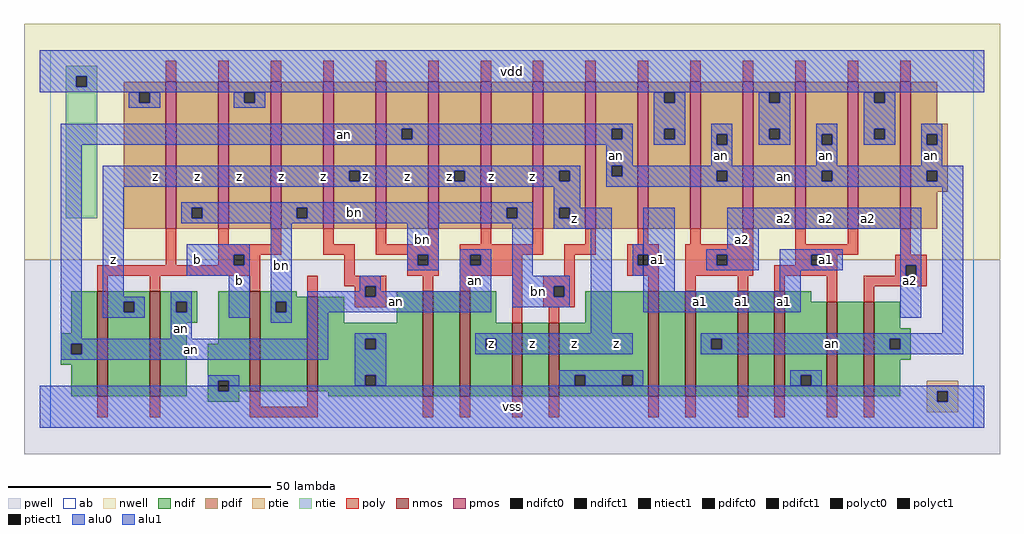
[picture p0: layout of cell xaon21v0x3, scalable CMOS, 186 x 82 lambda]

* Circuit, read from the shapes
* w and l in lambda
.subckt xaon21v0x3 a1 a2 an b bn vdd vss z
M1 z b an vss nfet w=20 l=2 m=2
M2 bn b vss vss nfet w=19 l=2
M3 vss b bn vss nfet w=18 l=2
M4 n1 bn vss vss nfet w=20 l=2
M5 z an n1 vss nfet w=20 l=2
M6 n2 an z vss nfet w=14 l=2
M7 vss bn n2 vss nfet w=14 l=2
M8 n3 a1 vss vss nfet w=20 l=2
M9 an a2 n3 vss nfet w=20 l=2
M10 n4 a2 an vss nfet w=20 l=2
M11 vss a1 n4 vss nfet w=20 l=2
M12 n5 a1 vss vss nfet w=18 l=2
M13 an a2 n5 vss nfet w=18 l=2
M14 bn b vdd vdd pfet w=28 l=2 m=3
M15 z an bn vdd pfet w=28 l=2 m=3
M16 an bn z vdd pfet w=28 l=2 m=3
M17 vdd a1 an vdd pfet w=28 l=2 m=3
M18 an a2 vdd vdd pfet w=28 l=2 m=3
.ends

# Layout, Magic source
magic
tech scmos
<< ab >>
rect 0 0 176 72
<< nwell >>
rect -5 32 181 77
<< pwell >>
rect -5 -5 181 32
<< poly >>
rect 22 66 24 70
rect 32 66 34 70
rect 42 66 44 70
rect 52 66 54 70
rect 62 66 64 70
rect 72 66 74 70
rect 82 66 84 70
rect 92 66 94 70
rect 102 66 104 70
rect 112 66 114 70
rect 122 66 124 70
rect 132 66 134 70
rect 142 66 144 70
rect 152 66 154 70
rect 162 66 164 70
rect 22 31 24 38
rect 32 35 34 38
rect 42 35 44 38
rect 32 33 44 35
rect 52 35 54 38
rect 62 35 64 38
rect 72 35 74 38
rect 82 35 84 38
rect 92 35 94 38
rect 102 35 104 38
rect 112 35 114 38
rect 122 35 124 38
rect 132 35 134 38
rect 52 33 58 35
rect 62 33 74 35
rect 32 31 35 33
rect 37 31 40 33
rect 9 29 40 31
rect 56 29 58 33
rect 68 31 70 33
rect 72 31 74 33
rect 68 29 74 31
rect 78 33 94 35
rect 98 33 104 35
rect 110 33 116 35
rect 78 31 80 33
rect 82 31 90 33
rect 78 29 90 31
rect 98 29 100 33
rect 110 31 112 33
rect 114 31 116 33
rect 110 29 116 31
rect 9 26 11 29
rect 19 26 21 29
rect 38 26 40 29
rect 49 25 51 29
rect 56 27 64 29
rect 58 25 60 27
rect 62 25 64 27
rect 71 26 73 29
rect 78 26 80 29
rect 58 23 64 25
rect 9 2 11 6
rect 19 2 21 6
rect 38 4 40 7
rect 49 4 51 7
rect 88 20 90 29
rect 94 27 100 29
rect 94 25 96 27
rect 98 25 100 27
rect 114 26 116 29
rect 121 33 134 35
rect 121 31 127 33
rect 129 31 134 33
rect 142 35 144 38
rect 152 35 154 38
rect 142 33 154 35
rect 162 33 164 38
rect 142 31 145 33
rect 147 31 150 33
rect 121 29 134 31
rect 138 29 150 31
rect 161 31 167 33
rect 161 29 163 31
rect 165 29 167 31
rect 121 26 123 29
rect 131 26 133 29
rect 138 26 140 29
rect 94 23 100 25
rect 95 20 97 23
rect 148 24 150 29
rect 155 27 167 29
rect 155 24 157 27
rect 38 2 51 4
rect 71 2 73 6
rect 78 2 80 6
rect 88 2 90 6
rect 95 2 97 6
rect 114 2 116 6
rect 121 2 123 6
rect 131 2 133 6
rect 138 2 140 6
rect 148 2 150 6
rect 155 2 157 6
<< ndif >>
rect 4 18 9 26
rect 2 16 9 18
rect 2 14 4 16
rect 6 14 9 16
rect 2 12 9 14
rect 4 6 9 12
rect 11 24 19 26
rect 11 22 14 24
rect 16 22 19 24
rect 11 6 19 22
rect 21 24 28 26
rect 21 22 24 24
rect 26 22 28 24
rect 21 20 28 22
rect 21 6 26 20
rect 32 16 38 26
rect 30 9 38 16
rect 30 7 32 9
rect 34 7 38 9
rect 40 25 47 26
rect 40 24 49 25
rect 40 22 43 24
rect 45 22 49 24
rect 40 7 49 22
rect 51 20 56 25
rect 66 20 71 26
rect 51 17 71 20
rect 51 15 60 17
rect 62 15 71 17
rect 51 10 71 15
rect 51 8 60 10
rect 62 8 71 10
rect 51 7 71 8
rect 30 5 36 7
rect 53 6 71 7
rect 73 6 78 26
rect 80 20 85 26
rect 102 20 114 26
rect 80 17 88 20
rect 80 15 83 17
rect 85 15 88 17
rect 80 6 88 15
rect 90 6 95 20
rect 97 10 114 20
rect 97 8 100 10
rect 102 8 109 10
rect 111 8 114 10
rect 97 6 114 8
rect 116 6 121 26
rect 123 17 131 26
rect 123 15 126 17
rect 128 15 131 17
rect 123 6 131 15
rect 133 6 138 26
rect 140 24 145 26
rect 140 10 148 24
rect 140 8 143 10
rect 145 8 148 10
rect 140 6 148 8
rect 150 6 155 24
rect 157 19 162 24
rect 157 17 164 19
rect 157 15 160 17
rect 162 15 164 17
rect 157 13 164 15
rect 157 6 162 13
<< pdif >>
rect 14 64 22 66
rect 14 62 17 64
rect 19 62 22 64
rect 14 38 22 62
rect 24 42 32 66
rect 24 40 27 42
rect 29 40 32 42
rect 24 38 32 40
rect 34 64 42 66
rect 34 62 37 64
rect 39 62 42 64
rect 34 38 42 62
rect 44 42 52 66
rect 44 40 47 42
rect 49 40 52 42
rect 44 38 52 40
rect 54 49 62 66
rect 54 47 57 49
rect 59 47 62 49
rect 54 38 62 47
rect 64 57 72 66
rect 64 55 67 57
rect 69 55 72 57
rect 64 38 72 55
rect 74 49 82 66
rect 74 47 77 49
rect 79 47 82 49
rect 74 38 82 47
rect 84 42 92 66
rect 84 40 87 42
rect 89 40 92 42
rect 84 38 92 40
rect 94 49 102 66
rect 94 47 97 49
rect 99 47 102 49
rect 94 42 102 47
rect 94 40 97 42
rect 99 40 102 42
rect 94 38 102 40
rect 104 57 112 66
rect 104 55 107 57
rect 109 55 112 57
rect 104 50 112 55
rect 104 48 107 50
rect 109 48 112 50
rect 104 38 112 48
rect 114 64 122 66
rect 114 62 117 64
rect 119 62 122 64
rect 114 57 122 62
rect 114 55 117 57
rect 119 55 122 57
rect 114 38 122 55
rect 124 56 132 66
rect 124 54 127 56
rect 129 54 132 56
rect 124 49 132 54
rect 124 47 127 49
rect 129 47 132 49
rect 124 38 132 47
rect 134 64 142 66
rect 134 62 137 64
rect 139 62 142 64
rect 134 57 142 62
rect 134 55 137 57
rect 139 55 142 57
rect 134 38 142 55
rect 144 56 152 66
rect 144 54 147 56
rect 149 54 152 56
rect 144 49 152 54
rect 144 47 147 49
rect 149 47 152 49
rect 144 38 152 47
rect 154 64 162 66
rect 154 62 157 64
rect 159 62 162 64
rect 154 57 162 62
rect 154 55 157 57
rect 159 55 162 57
rect 154 38 162 55
rect 164 58 169 66
rect 164 56 171 58
rect 164 54 167 56
rect 169 54 171 56
rect 164 49 171 54
rect 164 47 167 49
rect 169 47 171 49
rect 164 45 171 47
rect 164 38 169 45
<< alu1 >>
rect -2 67 178 72
rect -2 65 5 67
rect 7 65 178 67
rect -2 64 178 65
rect 10 49 101 50
rect 10 47 57 49
rect 59 47 77 49
rect 79 47 97 49
rect 99 47 101 49
rect 10 46 101 47
rect 10 25 14 46
rect 26 33 38 35
rect 26 31 35 33
rect 37 31 38 33
rect 26 29 38 31
rect 10 24 18 25
rect 10 22 14 24
rect 16 22 18 24
rect 10 21 18 22
rect 34 21 38 29
rect 96 42 101 46
rect 96 40 97 42
rect 99 40 107 42
rect 96 38 107 40
rect 103 18 107 38
rect 113 33 119 42
rect 129 38 166 42
rect 129 34 135 38
rect 114 31 119 33
rect 113 26 119 31
rect 125 33 135 34
rect 125 31 127 33
rect 129 31 135 33
rect 125 30 135 31
rect 139 33 151 34
rect 139 31 145 33
rect 147 31 151 33
rect 139 30 151 31
rect 162 31 166 38
rect 139 26 143 30
rect 113 22 143 26
rect 162 29 163 31
rect 165 29 166 31
rect 162 21 166 29
rect 81 17 111 18
rect 81 15 83 17
rect 85 15 111 17
rect 81 14 111 15
rect -2 7 32 8
rect 34 7 178 8
rect -2 5 169 7
rect 171 5 178 7
rect -2 0 178 5
<< ptie >>
rect 167 7 173 9
rect 167 5 169 7
rect 171 5 173 7
rect 167 3 173 5
<< ntie >>
rect 3 67 9 69
rect 3 65 5 67
rect 7 65 9 67
rect 3 40 9 65
<< nmos >>
rect 9 6 11 26
rect 19 6 21 26
rect 38 7 40 26
rect 49 7 51 25
rect 71 6 73 26
rect 78 6 80 26
rect 88 6 90 20
rect 95 6 97 20
rect 114 6 116 26
rect 121 6 123 26
rect 131 6 133 26
rect 138 6 140 26
rect 148 6 150 24
rect 155 6 157 24
<< pmos >>
rect 22 38 24 66
rect 32 38 34 66
rect 42 38 44 66
rect 52 38 54 66
rect 62 38 64 66
rect 72 38 74 66
rect 82 38 84 66
rect 92 38 94 66
rect 102 38 104 66
rect 112 38 114 66
rect 122 38 124 66
rect 132 38 134 66
rect 142 38 144 66
rect 152 38 154 66
rect 162 38 164 66
<< polyct0 >>
rect 70 31 72 33
rect 80 31 82 33
rect 112 31 113 33
rect 60 25 62 27
rect 96 25 98 27
<< polyct1 >>
rect 35 31 37 33
rect 113 31 114 33
rect 127 31 129 33
rect 145 31 147 33
rect 163 29 165 31
<< ndifct0 >>
rect 4 14 6 16
rect 24 22 26 24
rect 32 8 34 9
rect 43 22 45 24
rect 60 15 62 17
rect 60 8 62 10
rect 100 8 102 10
rect 109 8 111 10
rect 126 15 128 17
rect 143 8 145 10
rect 160 15 162 17
<< ndifct1 >>
rect 14 22 16 24
rect 32 7 34 8
rect 83 15 85 17
<< ntiect1 >>
rect 5 65 7 67
<< ptiect1 >>
rect 169 5 171 7
<< pdifct0 >>
rect 17 62 19 64
rect 27 40 29 42
rect 37 62 39 64
rect 47 40 49 42
rect 67 55 69 57
rect 87 40 89 42
rect 107 55 109 57
rect 107 48 109 50
rect 117 62 119 64
rect 117 55 119 57
rect 127 54 129 56
rect 127 47 129 49
rect 137 62 139 64
rect 137 55 139 57
rect 147 54 149 56
rect 147 47 149 49
rect 157 62 159 64
rect 157 55 159 57
rect 167 54 169 56
rect 167 47 169 49
<< pdifct1 >>
rect 57 47 59 49
rect 77 47 79 49
rect 97 47 99 49
rect 97 40 99 42
<< alu0 >>
rect 15 62 17 64
rect 19 62 21 64
rect 15 61 21 62
rect 35 62 37 64
rect 39 62 41 64
rect 35 61 41 62
rect 115 62 117 64
rect 119 62 121 64
rect 2 57 111 58
rect 2 55 67 57
rect 69 55 107 57
rect 109 55 111 57
rect 2 54 111 55
rect 115 57 121 62
rect 135 62 137 64
rect 139 62 141 64
rect 115 55 117 57
rect 119 55 121 57
rect 115 54 121 55
rect 126 56 130 58
rect 126 54 127 56
rect 129 54 130 56
rect 135 57 141 62
rect 155 62 157 64
rect 159 62 161 64
rect 135 55 137 57
rect 139 55 141 57
rect 135 54 141 55
rect 146 56 150 58
rect 146 54 147 56
rect 149 54 150 56
rect 155 57 161 62
rect 155 55 157 57
rect 159 55 161 57
rect 155 54 161 55
rect 166 56 170 58
rect 166 54 167 56
rect 169 54 170 56
rect 2 17 6 54
rect 106 50 111 54
rect 126 50 130 54
rect 146 50 150 54
rect 166 50 170 54
rect 106 48 107 50
rect 109 49 174 50
rect 109 48 127 49
rect 106 47 127 48
rect 129 47 147 49
rect 149 47 167 49
rect 169 47 174 49
rect 106 46 174 47
rect 25 42 92 43
rect 25 40 27 42
rect 29 40 47 42
rect 49 40 87 42
rect 89 40 92 42
rect 25 39 92 40
rect 23 24 27 26
rect 23 22 24 24
rect 26 22 27 24
rect 23 17 27 22
rect 42 24 46 39
rect 68 33 74 39
rect 68 31 70 33
rect 72 31 74 33
rect 68 30 74 31
rect 78 33 84 34
rect 78 31 80 33
rect 82 31 84 33
rect 59 27 63 29
rect 59 26 60 27
rect 42 22 43 24
rect 45 22 46 24
rect 42 20 46 22
rect 49 25 60 26
rect 62 26 63 27
rect 78 26 84 31
rect 62 25 84 26
rect 49 22 84 25
rect 88 29 92 39
rect 88 27 99 29
rect 88 25 96 27
rect 98 25 99 27
rect 88 23 99 25
rect 49 17 53 22
rect 111 33 113 35
rect 111 31 112 33
rect 111 29 113 31
rect 170 18 174 46
rect 2 16 53 17
rect 2 14 4 16
rect 6 14 53 16
rect 2 13 53 14
rect 58 17 64 18
rect 58 15 60 17
rect 62 15 64 17
rect 58 10 64 15
rect 124 17 174 18
rect 124 15 126 17
rect 128 15 160 17
rect 162 15 174 17
rect 124 14 174 15
rect 30 9 36 10
rect 30 8 32 9
rect 34 8 36 9
rect 58 8 60 10
rect 62 8 64 10
rect 97 10 113 11
rect 97 8 100 10
rect 102 8 109 10
rect 111 8 113 10
rect 141 10 147 11
rect 141 8 143 10
rect 145 8 147 10
<< labels >>
rlabel alu0 25 19 25 19 6 an
rlabel alu0 27 15 27 15 6 an
rlabel alu0 66 24 66 24 6 an
rlabel alu0 81 28 81 28 6 an
rlabel alu0 71 36 71 36 6 bn
rlabel alu0 44 31 44 31 6 bn
rlabel alu0 93 26 93 26 6 bn
rlabel alu0 58 41 58 41 6 bn
rlabel alu0 108 52 108 52 6 an
rlabel alu0 128 52 128 52 6 an
rlabel alu0 56 56 56 56 6 an
rlabel alu0 149 16 149 16 6 an
rlabel alu0 140 48 140 48 6 an
rlabel alu0 148 52 148 52 6 an
rlabel alu0 168 52 168 52 6 an
rlabel alu1 12 32 12 32 6 z
rlabel alu1 28 32 28 32 6 b
rlabel alu1 20 48 20 48 6 z
rlabel alu1 28 48 28 48 6 z
rlabel alu1 36 28 36 28 6 b
rlabel alu1 36 48 36 48 6 z
rlabel alu1 44 48 44 48 6 z
rlabel alu1 52 48 52 48 6 z
rlabel alu1 60 48 60 48 6 z
rlabel alu1 88 4 88 4 6 vss
rlabel alu1 100 16 100 16 6 z
rlabel ndifct1 84 16 84 16 6 z
rlabel alu1 92 16 92 16 6 z
rlabel alu1 100 40 100 40 6 z
rlabel alu1 68 48 68 48 6 z
rlabel alu1 76 48 76 48 6 z
rlabel alu1 84 48 84 48 6 z
rlabel alu1 92 48 92 48 6 z
rlabel alu1 88 68 88 68 6 vdd
rlabel alu1 108 16 108 16 6 z
rlabel alu1 124 24 124 24 6 a1
rlabel alu1 132 24 132 24 6 a1
rlabel alu1 140 24 140 24 6 a1
rlabel alu1 116 32 116 32 6 a1
rlabel alu1 140 40 140 40 6 a2
rlabel alu1 132 36 132 36 6 a2
rlabel alu1 148 32 148 32 6 a1
rlabel alu1 164 28 164 28 6 a2
rlabel alu1 148 40 148 40 6 a2
rlabel alu1 156 40 156 40 6 a2
<< end >>
